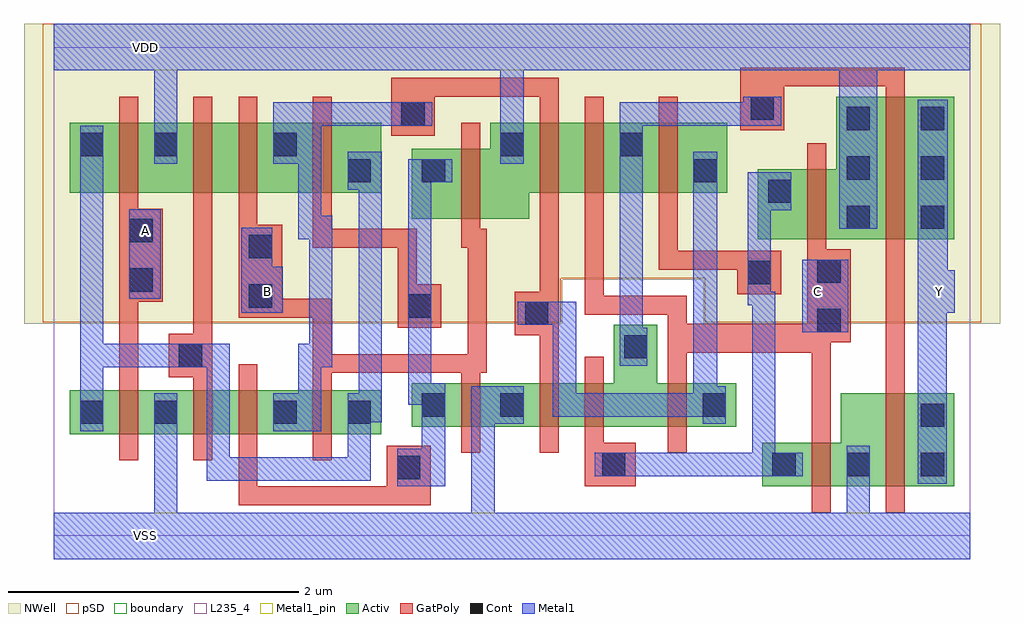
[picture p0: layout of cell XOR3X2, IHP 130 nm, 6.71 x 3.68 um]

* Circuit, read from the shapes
.subckt XOR3X2 A B C VDD VSS Y
XM1 VSS A n1 VSUBS sg13_lv_nmos w=0.3u l=0.13u
XM2 n2 n1 VSS VSUBS sg13_lv_nmos w=0.3u l=0.13u
XM3 n3 n4 n2 VSUBS sg13_lv_nmos w=0.3u l=0.13u
XM4 n1 B n3 VSUBS sg13_lv_nmos w=0.3u l=0.13u
XM5 VSS B n4 VSUBS sg13_lv_nmos w=0.3u l=0.13u
XM6 n5 n3 VSS VSUBS sg13_lv_nmos w=0.3u l=0.13u
XM7 n6 n7 n5 VSUBS sg13_lv_nmos w=0.3u l=0.13u
XM8 n3 C n6 VSUBS sg13_lv_nmos w=0.3u l=0.13u
XM9 VSS C n7 VSUBS sg13_lv_nmos w=0.3u l=0.13u
XM10 Y n6 VSS VSUBS sg13_lv_nmos w=0.64u l=0.13u
XM11 VDD A n1 n8 sg13_lv_pmos w=0.48u l=0.13u
XM12 n9 n1 VDD n8 sg13_lv_pmos w=0.48u l=0.13u
XM13 n3 B n9 n8 sg13_lv_pmos w=0.48u l=0.13u
XM14 n1 n4 n3 n8 sg13_lv_pmos w=0.48u l=0.13u
XM15 VDD B n4 n8 sg13_lv_pmos w=0.48u l=0.13u
XM16 n10 n3 VDD n8 sg13_lv_pmos w=0.48u l=0.13u
XM17 n6 C n10 n8 sg13_lv_pmos w=0.48u l=0.13u
XM18 n3 n7 n6 n8 sg13_lv_pmos w=0.48u l=0.13u
XM19 VDD C n7 n8 sg13_lv_pmos w=0.48u l=0.13u
XM20 Y n6 VDD n8 sg13_lv_pmos w=0.98u l=0.13u
.ends

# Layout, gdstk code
import gdstk
lib = gdstk.Library(unit=1e-6, precision=1e-09)
def R(c, l, rs):  # rectangles x0, y0, x1, y1
    for r in rs: c.add(gdstk.rectangle(r[:2], r[2:], *l))
def A(c, l, x, y, w, h, nx, ny, dx, dy):  # array of equal rectangles
    R(c, l, [(x+i*dx, y+j*dy, x+i*dx+w, y+j*dy+h) for i in range(nx) for j in range(ny)])
def P(c, l, *ps):  # polygons
    for p in ps: c.add(gdstk.Polygon(p, *l))
Activ = (1, 0)
GatPoly = (5, 0)
Cont = (6, 0)
Metal1 = (8, 0)
Metal1_pin = (8, 2)
pSD = (14, 0)
NWell = (31, 0)
boundary = (189, 4)
L235_4 = (235, 4)

xor3x2 = lib.new_cell('XOR3X2')
R(xor3x2, Activ, [(0.11,0.7,2.25,1), (0.11,2.36,2.25,2.84)])
P(xor3x2, Activ, [(2.46,2.18),(2.46,2.66),(3,2.66),(3,2.84),(4.63,2.84),(4.63,2.36),(3.27,2.36),(3.27,2.18)],
  [(2.46,0.75),(2.46,1.05),(3.85,1.05),(3.85,1.45),(4.15,1.45),(4.15,1.05),(4.69,1.05),(4.69,0.75)],
  [(4.84,2.04),(4.84,2.52),(5.38,2.52),(5.38,3.02),(6.19,3.02),(6.19,2.04)],
  [(4.87,0.34),(4.87,0.64),(5.41,0.64),(5.41,0.98),(6.19,0.98),(6.19,0.34)])
P(xor3x2, GatPoly, [(5.21,0.16),(5.21,1.26),(4.35,1.26),(4.35,0.57),(4.22,0.57),(4.22,1.52),(3.65,1.52),(3.65,3.02),(3.78,3.02),(3.78,1.65),(4.35,1.65),(4.35,1.46),(5.18,1.46),(5.18,2.7),(5.31,2.7),(5.31,1.97),(5.48,1.97),(5.48,1.33),(5.34,1.33),(5.34,0.16)],
  [(0.45,0.52),(0.45,3.02),(0.58,3.02),(0.58,2.25),(0.75,2.25),(0.75,1.61),(0.58,1.61),(0.58,0.52)],
  [(1.78,0.52),(1.78,1.5),(1.27,1.5),(1.27,3.02),(1.4,3.02),(1.4,2.14),(1.57,2.14),(1.57,1.63),(1.91,1.63),(1.91,1.25),(2.845,1.25),(2.845,1.98),(2.8,1.98),(2.8,2.84),(2.93,2.84),(2.93,2.11),(2.975,2.11),(2.975,1.12),(2.93,1.12),(2.93,0.57),(2.8,0.57),(2.8,1.12),(1.91,1.12),(1.91,0.52)],
  [(1.27,0.21),(1.27,1.18),(1.4,1.18),(1.4,0.34),(2.29,0.34),(2.29,0.62),(2.59,0.62),(2.59,0.21)],
  [(0.96,0.52),(0.96,1.09),(0.79,1.09),(0.79,1.39),(0.96,1.39),(0.96,3.02),(1.09,3.02),(1.09,0.52)],
  [(2.365,1.43),(2.365,1.98),(1.78,1.98),(1.78,3.02),(1.91,3.02),(1.91,2.11),(2.495,2.11),(2.495,1.73),(2.665,1.73),(2.665,1.43)],
  [(3.34,0.57),(3.34,1.38),(3.17,1.38),(3.17,1.68),(3.34,1.68),(3.34,3.02),(2.62,3.02),(2.62,2.75),(2.32,2.75),(2.32,3.15),(3.47,3.15),(3.47,0.57)],
  [(3.65,0.34),(3.65,1.23),(3.78,1.23),(3.78,0.64),(4,0.64),(4,0.34)],
  [(4.7,1.66),(4.7,1.83),(4.16,1.83),(4.16,3.02),(4.29,3.02),(4.29,1.96),(5,1.96),(5,1.66)],
  [(5.72,0.16),(5.72,3.09),(5.02,3.09),(5.02,2.79),(4.72,2.79),(4.72,3.22),(5.85,3.22),(5.85,0.16)])
A(xor3x2, Cont, 4.94, 0.41, 0.16, 0.16, 3, 1, 0.51, 0)
A(xor3x2, Cont, 5.45, 2.11, 0.16, 0.16, 1, 3, 0, 0.34)
A(xor3x2, Cont, 5.96, 2.11, 0.16, 0.16, 1, 3, 0, 0.34)
R(xor3x2, Cont, [(2.36,0.39,2.52,0.55), (3.77,0.41,3.93,0.57), (5.96,0.75,6.12,0.91), (0.18,0.77,0.34,0.93), (0.69,0.77,0.85,0.93), (1.51,0.77,1.67,0.93), (2.02,0.77,2.18,0.93), (2.53,0.82,2.69,0.98), (3.07,0.82,3.23,0.98), (4.46,0.82,4.62,0.98), (0.86,1.16,1.02,1.32), (3.92,1.22,4.08,1.38), (5.25,1.4,5.41,1.56), (3.24,1.45,3.4,1.61), (2.435,1.5,2.595,1.66), (1.34,1.57,1.5,1.73), (0.52,1.68,0.68,1.84), (4.77,1.73,4.93,1.89), (5.25,1.74,5.41,1.9), (1.34,1.91,1.5,2.07), (0.52,2.02,0.68,2.18), (4.91,2.29,5.07,2.45), (2.02,2.43,2.18,2.59), (2.53,2.43,2.69,2.59), (4.4,2.43,4.56,2.59), (0.18,2.61,0.34,2.77), (0.69,2.61,0.85,2.77), (1.51,2.61,1.67,2.77), (3.07,2.61,3.23,2.77), (3.89,2.61,4.05,2.77), (2.39,2.82,2.55,2.98), (4.79,2.86,4.95,3.02)])
R(xor3x2, Metal1, [(5.145,1.4,5.46,1.9), (0.52,1.63,0.735,2.245)])
P(xor3x2, Metal1, [(1.29,1.535),(1.29,2.12),(1.5,2.12),(1.5,1.85),(1.575,1.85),(1.575,1.535)],
  [(5.94,0.36),(5.94,3),(6.145,3),(6.145,1.825),(6.195,1.825),(6.195,1.535),(6.14,1.535),(6.14,0.36)],
  [(0,-0.16),(0,0.16),(0.69,0.16),(0.69,0.98),(0.85,0.98),(0.85,0.16),(2.87,0.16),(2.87,1.03),(3.23,1.03),(3.23,0.77),(3.03,0.77),(3.03,0.16),(5.45,0.16),(5.45,0.62),(5.61,0.62),(5.61,0.16),(6.3,0.16),(6.3,-0.16)],
  [(5.4,2.11),(5.4,3.2),(3.23,3.2),(3.23,2.56),(3.07,2.56),(3.07,3.2),(0.85,3.2),(0.85,2.56),(0.69,2.56),(0.69,3.2),(0,3.2),(0,3.52),(6.3,3.52),(6.3,3.2),(5.66,3.2),(5.66,2.11)],
  [(1.05,0.38),(1.05,1.16),(0.34,1.16),(0.34,0.72),(0.18,0.72),(0.18,2.82),(0.34,2.82),(0.34,1.32),(1.21,1.32),(1.21,0.54),(2.02,0.54),(2.02,0.98),(2.095,0.98),(2.095,2.38),(2.02,2.38),(2.02,2.64),(2.255,2.64),(2.255,0.78),(2.18,0.78),(2.18,0.38)],
  [(1.51,0.72),(1.51,0.98),(1.68,0.98),(1.68,1.32),(1.755,1.32),(1.755,2.04),(1.68,2.04),(1.68,2.56),(1.51,2.56),(1.51,2.98),(2.6,2.98),(2.6,2.82),(1.84,2.82),(1.84,2.2),(1.915,2.2),(1.915,1.16),(1.84,1.16),(1.84,0.72)],
  [(2.36,0.34),(2.36,0.6),(2.53,0.6),(2.53,0.9),(2.435,0.9),(2.435,2.59),(2.74,2.59),(2.74,2.43),(2.595,2.43),(2.595,1.05),(2.69,1.05),(2.69,0.34)],
  [(4.46,0.77),(4.46,0.82),(3.43,0.82),(3.43,1.45),(3.19,1.45),(3.19,1.61),(3.59,1.61),(3.59,0.98),(4.395,0.98),(4.395,2.64),(4.56,2.64),(4.56,1.03),(4.62,1.03),(4.62,0.77)],
  [(3.89,1.17),(3.89,2.98),(4.74,2.98),(4.74,3.02),(5,3.02),(5,2.82),(4.05,2.82),(4.05,1.43),(4.08,1.43),(4.08,1.17)],
  [(3.72,0.41),(3.72,0.57),(4.8,0.57),(4.8,1.585),(4.77,1.585),(4.77,2.5),(5.07,2.5),(5.07,2.24),(4.93,2.24),(4.93,1.68),(4.96,1.68),(4.96,0.57),(5.15,0.57),(5.15,0.41)])
R(xor3x2, Metal1_pin, [(0,-0.16,6.3,0.16), (5.145,1.4,5.46,1.9), (1.29,1.535,1.575,1.85), (5.94,1.535,6.195,1.825), (0.52,1.63,0.735,2.245), (0,3.2,6.3,3.52)])
P(xor3x2, Metal1_pin, [(5.94,0.36),(5.94,3),(6.145,3),(6.145,1.825),(6.195,1.825),(6.195,1.535),(6.14,1.535),(6.14,0.36)],
  [(1.29,1.535),(1.29,2.12),(1.5,2.12),(1.5,1.85),(1.575,1.85),(1.575,1.535)])
P(xor3x2, pSD, [(-0.075,1.47),(-0.075,3.52),(6.375,3.52),(6.375,1.47),(4.475,1.47),(4.475,1.77),(3.485,1.77),(3.485,1.47)])
P(xor3x2, NWell, [(-0.205,1.46),(-0.205,3.52),(6.505,3.52),(6.505,1.46),(4.465,1.46),(4.465,1.76),(3.495,1.76),(3.495,1.46)])
R(xor3x2, boundary, [(0,0,6.3,3.36)])
R(xor3x2, L235_4, [(0,0,6.3,3.36)])
xor3x2.add(gdstk.Label('C', (5.25,1.68), layer=8, texttype=25))
xor3x2.add(gdstk.Label('VSS', (0.63,0), layer=8, texttype=25))
xor3x2.add(gdstk.Label('A', (0.63,2.1), layer=8, texttype=25))
xor3x2.add(gdstk.Label('B', (1.47,1.68), layer=8, texttype=25))
xor3x2.add(gdstk.Label('VDD', (0.63,3.36), layer=8, texttype=25))
xor3x2.add(gdstk.Label('Y', (6.09,1.68), layer=8, texttype=25))

lib.write_gds('XOR3X2.gds')
